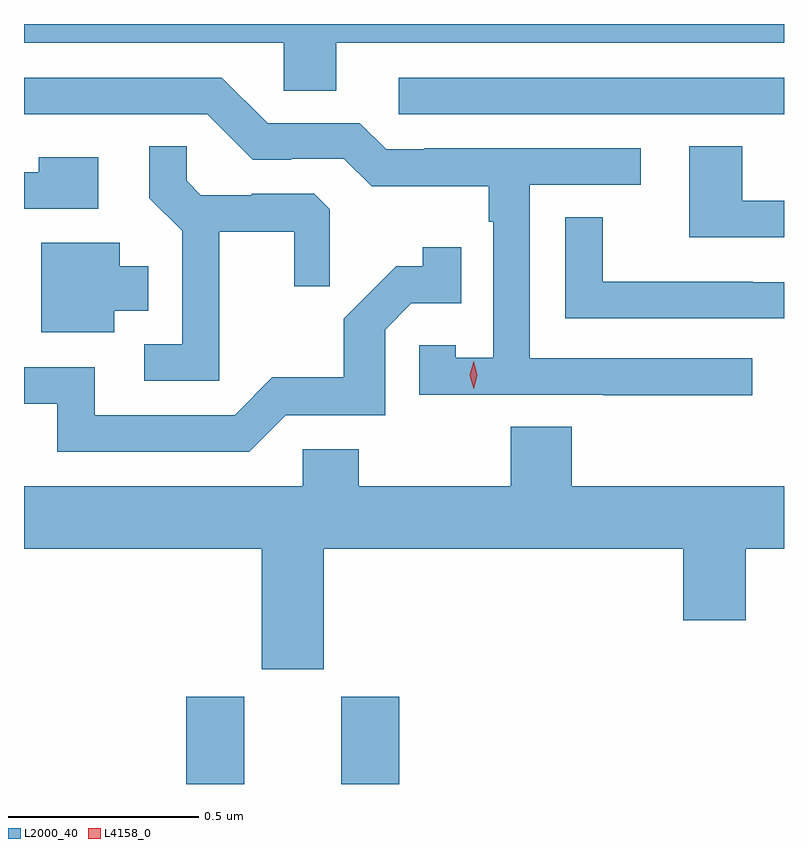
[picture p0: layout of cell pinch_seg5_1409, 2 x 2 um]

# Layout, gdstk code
import gdstk
lib = gdstk.Library(unit=1e-6, precision=1e-09)
def R(c, l, rs):  # rectangles x0, y0, x1, y1
    for r in rs: c.add(gdstk.rectangle(r[:2], r[2:], *l))
def P(c, l, *ps):  # polygons
    for p in ps: c.add(gdstk.Polygon(p, *l))
L2000_40 = (2000, 40)
L4158_0 = (4158, 0)

pinch_seg5_1409 = lib.new_cell('pinch_seg5_1409')
R(pinch_seg5_1409, L2000_40, [(307.556,901.429,307.708,901.659), (307.964,901.429,308.117,901.659), (308.115,903.192,309.129,903.288)])
P(pinch_seg5_1409, L2000_40, [(307.951,903.38),(309.129,903.38),(309.129,903.429),(307.129,903.429),(307.129,903.38),(307.812,903.38),(307.812,903.253),(307.951,903.253)],
  [(309.046,902.55),(308.46,902.55),(308.46,903.006),(308.752,903.006),(308.752,903.102),(308.182,903.102),(308.182,903.099),(308.082,903.099),(308.013,903.168),(307.77,903.168),(307.65,903.288),(307.129,903.288),(307.129,903.192),(307.611,903.192),(307.731,903.072),(307.832,903.072),(307.832,903.075),(307.971,903.075),(308.044,903.002),(308.352,903.002),(308.352,902.909),(308.364,902.909),(308.364,902.551),(308.265,902.551),(308.265,902.583),(308.169,902.583),(308.169,902.454),(308.653,902.454),(308.653,902.452),(309.046,902.452)],
  [(309.129,902.964),(309.019,902.964),(309.019,903.107),(308.879,903.107),(308.879,902.868),(309.129,902.868)],
  [(307.643,902.882),(307.84,902.882),(307.84,902.739),(307.934,902.739),(307.934,902.941),(307.893,902.982),(307.728,902.982),(307.728,902.979),(307.594,902.979),(307.557,903.016),(307.557,903.107),(307.459,903.107),(307.459,902.971),(307.545,902.885),(307.545,902.586),(307.446,902.586),(307.446,902.49),(307.643,902.49)],
  [(307.324,903.079),(307.168,903.079),(307.168,903.039),(307.129,903.039),(307.129,902.943),(307.324,902.943)],
  [(309.129,902.75),(309.047,902.75),(309.047,902.751),(308.652,902.751),(308.652,902.921),(308.553,902.921),(308.553,902.655),(309.129,902.655)],
  [(307.366,902.675),(307.456,902.675),(307.456,902.791),(307.381,902.791),(307.381,902.854),(307.175,902.854),(307.175,902.618),(307.366,902.618)],
  [(307.818,902.4),(308.079,902.4),(308.079,902.625),(308.148,902.694),(308.279,902.694),(308.279,902.842),(308.178,902.842),(308.178,902.792),(308.108,902.792),(307.971,902.654),(307.971,902.499),(307.782,902.499),(307.683,902.4),(307.315,902.4),(307.315,902.526),(307.129,902.526),(307.129,902.43),(307.217,902.43),(307.217,902.304),(307.722,902.304)],
  [(307.918,902.048),(308.864,902.048),(308.864,901.86),(309.028,901.86),(309.028,902.048),(309.129,902.048),(309.129,902.212),(308.57,902.212),(308.57,902.369),(308.41,902.369),(308.41,902.212),(308.01,902.212),(308.01,902.31),(307.863,902.31),(307.863,902.212),(307.129,902.212),(307.129,902.048),(307.754,902.048),(307.754,901.731),(307.918,901.731)])
P(pinch_seg5_1409, L4158_0, [(308.312,902.469),(308.312,902.469),(308.302,902.505),(308.312,902.541),(308.312,902.541),(308.312,902.541),(308.322,902.505),(308.312,902.469)])

lib.write_gds('pinch_seg5_1409.gds')
